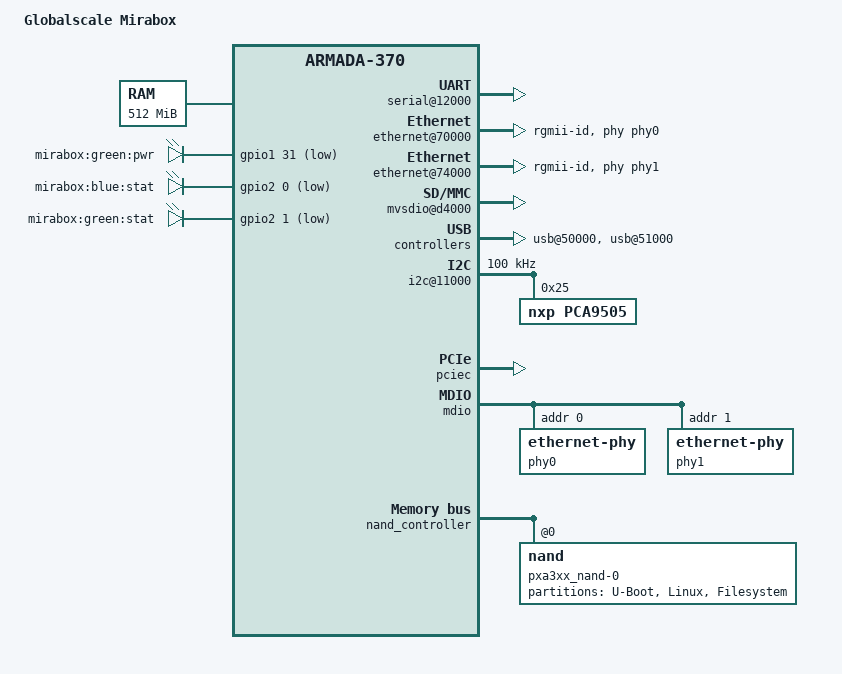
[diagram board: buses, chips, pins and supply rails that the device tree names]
// SPDX-License-Identifier: (GPL-2.0+ OR MIT)
/*
 * Device Tree file for Globalscale Mirabox
 *
 * Gregory CLEMENT <gregory.clement@free-electrons.com>
 */

/dts-v1/;
#include <dt-bindings/gpio/gpio.h>
#include "armada-370.dtsi"

/ {
	model = "Globalscale Mirabox";
	compatible = "globalscale,mirabox", "marvell,armada370", "marvell,armada-370-xp";

	chosen {
		stdout-path = "serial0:115200n8";
	};

	memory@0 {
		device_type = "memory";
		reg = <0x00000000 0x20000000>; /* 512 MB */
	};

	soc {
		ranges = <MBUS_ID(0xf0, 0x01) 0 0xd0000000 0x100000
			  MBUS_ID(0x01, 0xe0) 0 0xfff00000 0x100000
			  MBUS_ID(0x09, 0x01) 0 0xf1100000 0x10000>;

		internal-regs {
			serial@12000 {
				status = "okay";
			};
			timer@20300 {
				clock-frequency = <600000000>;
				status = "okay";
			};

			gpio_leds {
				compatible = "gpio-leds";
				pinctrl-names = "default";
				pinctrl-0 = <&pwr_led_pin &stat_led_pins>;

				green_pwr_led {
					label = "mirabox:green:pwr";
					gpios = <&gpio1 31 GPIO_ACTIVE_LOW>;
					default-state = "keep";
				};

				blue_stat_led {
					label = "mirabox:blue:stat";
					gpios = <&gpio2 0 GPIO_ACTIVE_LOW>;
					default-state = "off";
				};

				green_stat_led {
					label = "mirabox:green:stat";
					gpios = <&gpio2 1 GPIO_ACTIVE_LOW>;
					default-state = "off";
				};
			};

			ethernet@70000 {
				pinctrl-0 = <&ge0_rgmii_pins>;
				pinctrl-names = "default";
				status = "okay";
				phy = <&phy0>;
				phy-mode = "rgmii-id";
			};
			ethernet@74000 {
				pinctrl-0 = <&ge1_rgmii_pins>;
				pinctrl-names = "default";
				status = "okay";
				phy = <&phy1>;
				phy-mode = "rgmii-id";
			};

			crypto@90000 {
				status = "okay";
			};

			mvsdio@d4000 {
				pinctrl-0 = <&sdio_pins3>;
				pinctrl-names = "default";
				status = "okay";
				/*
				 * No CD or WP GPIOs: SDIO interface used for
				 * Wifi/Bluetooth chip
				 */
				 broken-cd;
			};

			usb@50000 {
				status = "okay";
			};

			usb@51000 {
				status = "okay";
			};

			i2c@11000 {
				status = "okay";
				clock-frequency = <100000>;
				pca9505: pca9505@25 {
					compatible = "nxp,pca9505";
					gpio-controller;
					#gpio-cells = <2>;
					reg = <0x25>;
				};
			};
		};
	};
};

&pciec {
	status = "okay";

	/* Internal mini-PCIe connector */
	pcie@1,0 {
		/* Port 0, Lane 0 */
		status = "okay";
	};

	/* Connected on the PCB to a USB 3.0 XHCI controller */
	pcie@2,0 {
		/* Port 1, Lane 0 */
		status = "okay";
	};
};

&mdio {
	pinctrl-0 = <&mdio_pins>;
	pinctrl-names = "default";
	phy0: ethernet-phy@0 {
		reg = <0>;
	};

	phy1: ethernet-phy@1 {
		reg = <1>;
	};
};

&pinctrl {
	pwr_led_pin: pwr-led-pin {
		marvell,pins = "mpp63";
		marvell,function = "gpio";
	};

	stat_led_pins: stat-led-pins {
		marvell,pins = "mpp64", "mpp65";
		marvell,function = "gpio";
	};
};

&nand_controller {
	status = "okay";

	nand@0 {
		reg = <0>;
		label = "pxa3xx_nand-0";
		nand-rb = <0>;
		marvell,nand-keep-config;
		nand-on-flash-bbt;

		partitions {
			compatible = "fixed-partitions";
			#address-cells = <1>;
			#size-cells = <1>;

			partition@0 {
				label = "U-Boot";
				reg = <0 0x400000>;
			};
			partition@400000 {
				label = "Linux";
				reg = <0x400000 0x400000>;
			};
			partition@800000 {
				label = "Filesystem";
				reg = <0x800000 0x3f800000>;
			};
		};
	};
};
